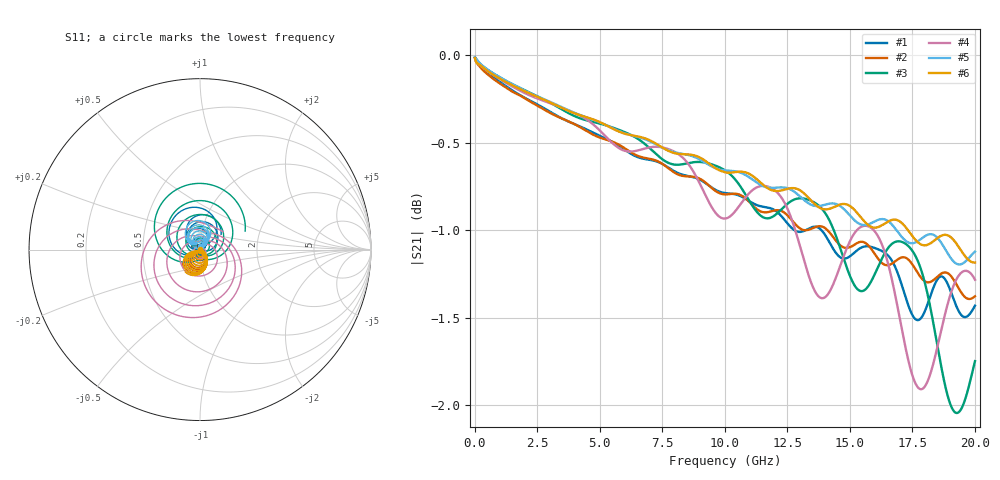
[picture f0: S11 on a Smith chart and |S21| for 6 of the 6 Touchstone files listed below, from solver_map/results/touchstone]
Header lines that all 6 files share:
! Solver applicability map - 40 x 16 mm symmetric stripline
! Sweep: 10 MHz - 20 GHz, 25 MHz step, 4 cores
# GHz S MA R 50.000000
! Terminal data exported
! Port[1] = U1.PAD1.SIG
! Port[2] = U2.PAD1.SIG
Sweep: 10 MHz to 20 GHz
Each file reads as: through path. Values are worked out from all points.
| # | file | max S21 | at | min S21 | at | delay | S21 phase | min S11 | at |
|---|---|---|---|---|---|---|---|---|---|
| 1 | bend_hfss.s2p | -0.01 dB | 10 MHz | -1.5 dB | 17.71 GHz | 308 ps | -33 deg at 10.01 GHz | -63.4 dB | 2.56 GHz |
| 2 | bend_siwave.s2p | -0.02 dB | 10 MHz | -1.4 dB | 19.76 GHz | 308 ps | -30 deg at 10.01 GHz | -52.7 dB | 2.16 GHz |
| 3 | gap_hfss.s2p | -0.01 dB | 10 MHz | -2.0 dB | 19.26 GHz | 260 ps | 144 deg at 10.01 GHz | -57.0 dB | 10 MHz |
| 4 | gap_siwave.s2p | -0.02 dB | 10 MHz | -1.9 dB | 17.84 GHz | 256 ps | 156 deg at 10.01 GHz | -53.5 dB | 10 MHz |
| 5 | straight_hfss.s2p | -0.01 dB | 10 MHz | -1.2 dB | 19.39 GHz | 258 ps | 149 deg at 10.01 GHz | -69.4 dB | 2.985 GHz |
| 6 | straight_siwave.s2p | -0.02 dB | 10 MHz | -1.2 dB | 19.98 GHz | 254 ps | 162 deg at 10.01 GHz | -53.9 dB | 10 MHz |
